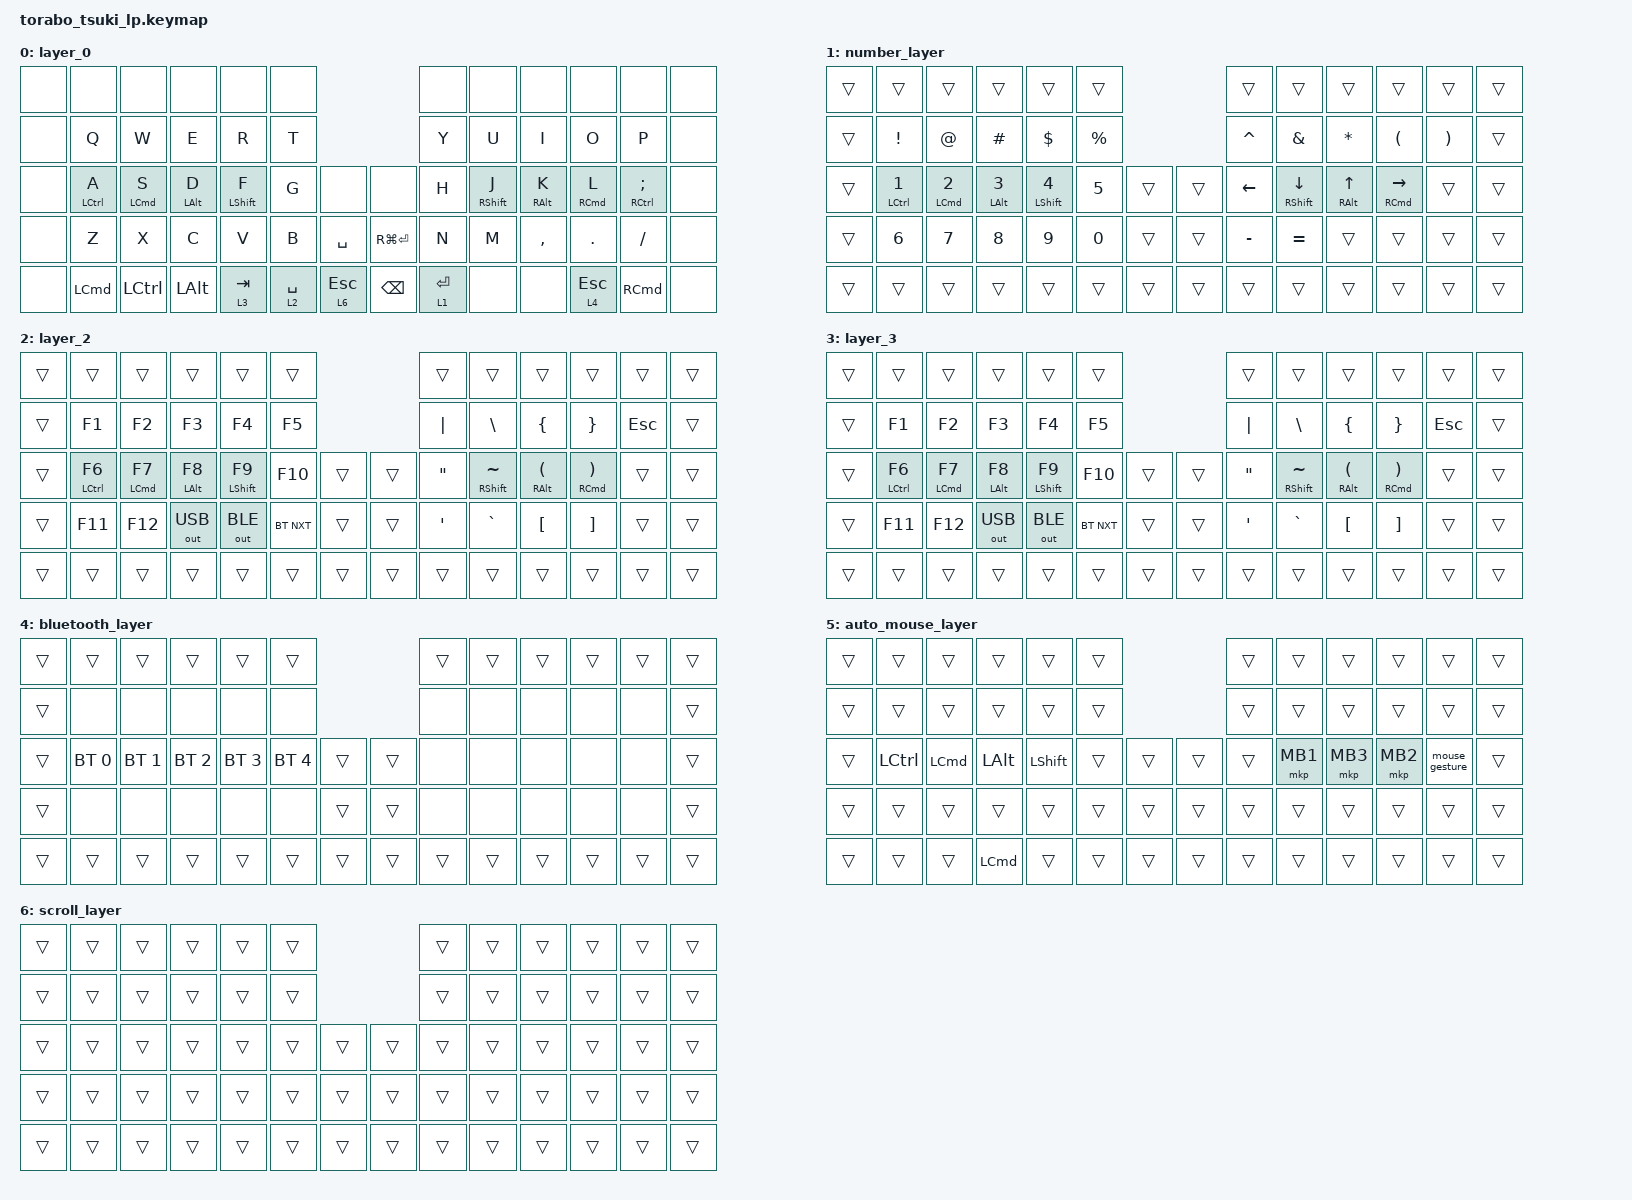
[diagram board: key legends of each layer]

#include <behaviors.dtsi>
#include <dt-bindings/zmk/bt.h>
#include <dt-bindings/zmk/keys.h>
#include <dt-bindings/zmk/outputs.h>
#include <dt-bindings/zmk/pointing.h>

#include <mouse-gesture.dtsi>
#include "torabo_tsuki_lp.dtsi"

/ {
    combos {
        compatible = "zmk,combos";

        bt_clear {
            bindings = <&bt BT_CLR>;
            key-positions = <32 33>;
            layers = <4>;
        };

        tab {
            bindings = <&kp LA(TAB)>;
            key-positions = <27 26>;
            layers = <0>;
        };

        japanese {
            bindings = <&kp LANGUAGE_1>;
            key-positions = <27 28>;
            layers = <0>;
        };

        english {
            bindings = <&kp LANGUAGE_2>;
            key-positions = <33 34>;
            layers = <0>;
        };

        del {
            bindings = <&kp BACKSPACE>;
            key-positions = <34 35>;
            layers = <0>;
        };

        mouse_button_4 {
            bindings = <&mkp MB4>;
            key-positions = <33 34>;
            layers = <5 6>;
        };

        mouse_button_5 {
            bindings = <&mkp MB5>;
            key-positions = <34 35>;
            layers = <5 6>;
        };
    };

    keymap {
        compatible = "zmk,keymap";

        layer_0 {
            bindings = <
&none  &none             &none          &none              &none                &none                                    &none           &none                 &none               &none          &none                   &none
&none  &kp Q             &kp W          &kp E              &kp R                &kp T                                    &kp Y           &kp U                 &kp I               &kp O          &kp P                   &none
&none  &hmr_l LCTRL A    &hmr_l LCMD S  &hmr_l LEFT_ALT D  &hmr_l LEFT_SHIFT F  &kp G        &none      &none            &kp H           &hmr_r RIGHT_SHIFT J  &hmr_r RIGHT_ALT K  &hmr_r RCMD L  &hmr_r RCTRL SEMICOLON  &none
&none  &kp Z             &kp X          &kp C              &kp V                &kp B        &kp SPACE  &kp RG(RET)      &kp N           &kp M                 &kp COMMA           &kp DOT        &kp FSLH                &none
&none  &kp LCMD          &kp LCTRL      &kp LALT           &lt 3 TAB            &lt 2 SPACE  &lt 6 ESC  &kp BACKSPACE    &lt 1 ENTER     &none                 &none               &lt 4 ESC      &kp RCMD                &none
            >;
        };

        number_layer {
            bindings = <
&trans  &trans             &trans          &trans              &trans                &trans                       &trans          &trans                         &trans                     &trans                   &trans                 &trans
&trans  &kp EXCLAMATION    &kp AT_SIGN     &kp HASH            &kp DOLLAR            &kp PERCENT                  &kp CARET       &kp AMPERSAND                  &kp ASTERISK               &kp LEFT_PARENTHESIS     &kp RIGHT_PARENTHESIS  &trans
&trans  &hmr_l LCTRL N1    &hmr_l LCMD N2  &hmr_l LEFT_ALT N3  &hmr_l LEFT_SHIFT N4  &kp N5       &trans  &trans  &kp LEFT_ARROW  &hmr_r RIGHT_SHIFT DOWN_ARROW  &hmr_r RIGHT_ALT UP_ARROW  &hmr_r RCMD RIGHT_ARROW  &trans                 &trans
&trans  &kp N6             &kp N7          &kp N8              &kp N9                &kp N0       &trans  &trans  &kp MINUS       &kp EQUAL                      &trans                     &trans                   &trans                 &trans
&trans  &trans             &trans          &trans              &trans                &trans       &trans  &trans  &trans          &trans                         &trans                     &trans                   &trans                 &trans
            >;
        };

        layer_2 {
            bindings = <
&trans  &trans             &trans          &trans              &trans                &trans                      &trans             &trans                    &trans                             &trans                         &trans      &trans
&trans  &kp F1             &kp F2          &kp F3              &kp F4                &kp F5                      &kp PIPE           &kp BACKSLASH             &kp LEFT_BRACE                     &kp RIGHT_BRACE                &kp ESCAPE  &trans
&trans  &hmr_l LCTRL F6    &hmr_l LCMD F7  &hmr_l LEFT_ALT F8  &hmr_l LEFT_SHIFT F9  &kp F10     &trans  &trans  &kp DOUBLE_QUOTES  &hmr_r RIGHT_SHIFT TILDE  &hmr_r RIGHT_ALT LEFT_PARENTHESIS  &hmr_r RCMD RIGHT_PARENTHESIS  &trans      &trans
&trans  &kp F11            &kp F12         &out OUT_USB        &out OUT_BLE          &bt BT_NXT  &trans  &trans  &kp SINGLE_QUOTE   &kp GRAVE                 &kp LEFT_BRACKET                   &kp RIGHT_BRACKET              &trans      &trans
&trans  &trans             &trans          &trans              &trans                &trans      &trans  &trans  &trans             &trans                    &trans                             &trans                         &trans      &trans
            >;
        };

        layer_3 {
            bindings = <
&trans  &trans             &trans          &trans              &trans                &trans                      &trans             &trans                    &trans                             &trans                         &trans      &trans
&trans  &kp F1             &kp F2          &kp F3              &kp F4                &kp F5                      &kp PIPE           &kp BACKSLASH             &kp LEFT_BRACE                     &kp RIGHT_BRACE                &kp ESCAPE  &trans
&trans  &hmr_l LCTRL F6    &hmr_l LCMD F7  &hmr_l LEFT_ALT F8  &hmr_l LEFT_SHIFT F9  &kp F10     &trans  &trans  &kp DOUBLE_QUOTES  &hmr_r RIGHT_SHIFT TILDE  &hmr_r RIGHT_ALT LEFT_PARENTHESIS  &hmr_r RCMD RIGHT_PARENTHESIS  &trans      &trans
&trans  &kp F11            &kp F12         &out OUT_USB        &out OUT_BLE          &bt BT_NXT  &trans  &trans  &kp SINGLE_QUOTE   &kp GRAVE                 &kp LEFT_BRACKET                   &kp RIGHT_BRACKET              &trans      &trans
&trans  &trans             &trans          &trans              &trans                &trans      &trans  &trans  &trans             &trans                    &trans                             &trans                         &trans      &trans
            >;
        };

        bluetooth_layer {
            bindings = <
&trans  &trans        &trans        &trans        &trans        &trans                        &trans  &trans  &trans  &trans  &trans  &trans
&trans  &none         &none         &none         &none         &none                         &none   &none   &none   &none   &none   &trans
&trans  &bt BT_SEL 0  &bt BT_SEL 1  &bt BT_SEL 2  &bt BT_SEL 3  &bt BT_SEL 4  &trans  &trans  &none   &none   &none   &none   &none   &trans
&trans  &none         &none         &none         &none         &none         &trans  &trans  &none   &none   &none   &none   &none   &trans
&trans  &trans        &trans        &trans        &trans        &trans        &trans  &trans  &trans  &trans  &trans  &trans  &trans  &trans
            >;
        };

        auto_mouse_layer {
            bindings = <
&trans  &trans     &trans    &trans        &trans      &trans                  &trans    &trans    &trans    &trans    &trans          &trans
&trans  &trans     &trans    &trans        &trans      &trans                  &trans    &trans    &trans    &trans    &trans          &trans
&trans  &kp LCTRL  &kp LCMD  &kp LEFT_ALT  &kp LSHIFT  &trans  &trans  &trans  &trans    &mkp MB1  &mkp MB3  &mkp MB2  &mouse_gesture  &trans
&trans  &trans     &trans    &trans        &trans      &trans  &trans  &trans  &trans    &trans    &trans    &trans    &trans          &trans
&trans  &trans     &trans    &kp LCMD      &trans      &trans  &trans  &trans  &trans    &trans    &trans    &trans    &trans          &trans
            >;
        };

        scroll_layer {
            bindings = <
&trans  &trans  &trans  &trans  &trans  &trans                  &trans  &trans  &trans  &trans  &trans  &trans
&trans  &trans  &trans  &trans  &trans  &trans                  &trans  &trans  &trans  &trans  &trans  &trans
&trans  &trans  &trans  &trans  &trans  &trans  &trans  &trans  &trans  &trans  &trans  &trans  &trans  &trans
&trans  &trans  &trans  &trans  &trans  &trans  &trans  &trans  &trans  &trans  &trans  &trans  &trans  &trans
&trans  &trans  &trans  &trans  &trans  &trans  &trans  &trans  &trans  &trans  &trans  &trans  &trans  &trans
            >;
        };
    };
};

&zip_mouse_gesture {
    stroke-size = <100>; // Optional (default: 200)
    enable-eager-mode; // Optional, but recommended

    desktop_forward {
        pattern = <GESTURE_RIGHT>;
        bindings = <&kp LC(RIGHT)>;
    };

    desktop_backward {
        pattern = <GESTURE_LEFT>;
        bindings = <&kp LC(LEFT)>;
    };

    desktop_show_open {
        pattern = <GESTURE_UP>;
        bindings = <&kp LC(UP)>;
    };

    desktop_show_close {
        pattern = <GESTURE_DOWN>;
        bindings = <&kp LC(DOWN)>;
    };
};
